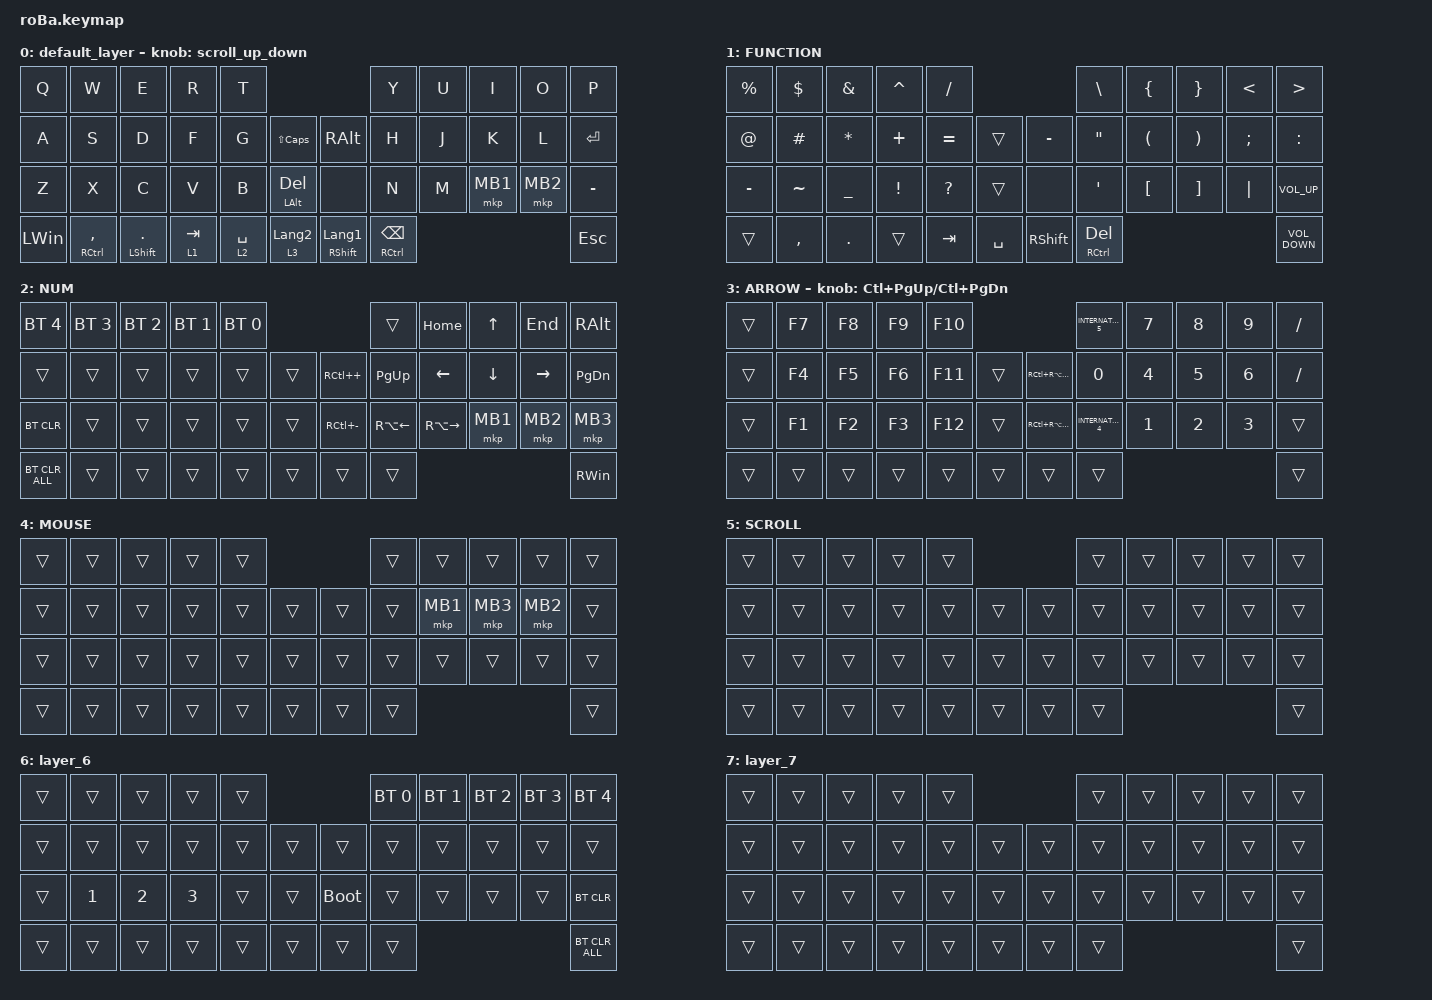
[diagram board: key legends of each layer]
#include <behaviors.dtsi>
#include <dt-bindings/zmk/bt.h>
#include <dt-bindings/zmk/keys.h>
#include <dt-bindings/zmk/pointing.h>

#define ZMK_POINTING_DEFAULT_SCRL_VAL 100

&mt {
    flavor = "hold-preferred";
    quick-tap-ms = <0>;
};

&sl { release-after-ms = <250>; };

/ {
    combos {
        compatible = "zmk,combos";

        BT0 {
            bindings = <&bt BT_SEL 0>;
            key-positions = <28 22>;
        };

        BT1 {
            bindings = <&bt BT_SEL 1>;
            key-positions = <28 23>;
        };

        BT2 {
            bindings = <&bt BT_SEL 2>;
            key-positions = <28 24>;
        };

        BT3 {
            bindings = <&none>;
            key-positions = <28 25>;
        };
    };

    macros {
        to_layer_0: to_layer_0 {
            compatible = "zmk,behavior-macro-one-param";
            #binding-cells = <1>;
            bindings = <&to 0 &macro_param_1to1 &kp MACRO_PLACEHOLDER>;
            label = "TO_LAYER_0";
        };

        mkp_exit_AML: mkp_exit_AML {
            compatible = "zmk,behavior-macro-one-param";
            #binding-cells = <1>;
            bindings =
                <&macro_press>,
                <&macro_param_1to1 &mkp MACRO_PLACEHOLDER>,
                <&macro_pause_for_release>,
                <&macro_release>,
                <&macro_param_1to1 &mkp MACRO_PLACEHOLDER>,
                <&macro_tap>,
                <&sl 4>;

            label = "MKP_EXIT_AML";
        };

        parenthesis: parenthesis {
            compatible = "zmk,behavior-macro";
            #binding-cells = <0>;
            bindings = <&kp LANG_HANJA &kp LEFT_PARENTHESIS &kp RIGHT_PARENTHESIS &kp LEFT_ARROW>;
            label = "parenthesis";
        };
    };

    behaviors {
        scroll_up_down: behavior_sensor_rotate_mouse_wheel_up_down {
            compatible = "zmk,behavior-sensor-rotate";
            #sensor-binding-cells = <0>;
            bindings = <&msc SCRL_UP>, <&msc SCRL_DOWN>;

            // 追加: スクロールのタップ時間を設定 (20ms)

            tap-ms = <20>;
        };
    };

    keymap {
        compatible = "zmk,keymap";

        default_layer {
            bindings = <
&kp Q         &kp W                    &kp E               &kp R      &kp T                                                          &kp Y                &kp U  &kp I     &kp O     &kp P
&kp A         &kp S                    &kp D               &kp F      &kp G        &kp LS(CAPS)          &kp RIGHT_ALT               &kp H                &kp J  &kp K     &kp L     &kp ENTER
&kp Z         &kp X                    &kp C               &kp V      &kp B        &mt LEFT_ALT DEL      &none                       &kp N                &kp M  &mkp MB1  &mkp MB2  &kp MINUS
&kp LEFT_WIN  &mt RIGHT_CONTROL COMMA  &mt LEFT_SHIFT DOT  &lt 1 TAB  &lt 2 SPACE  &lt 3 LANGUAGE_2      &mt RIGHT_SHIFT LANGUAGE_1  &mt RCTRL BACKSPACE                             &kp ESC
            >;

            sensor-bindings = <&scroll_up_down>;
        };

        FUNCTION {
            bindings = <
&kp PERCENT  &kp DOLLAR  &kp AMPERSAND  &kp CARET        &kp SLASH                                     &kp BACKSLASH      &kp LEFT_BRACE        &kp RIGHT_BRACE        &kp LESS_THAN  &kp GREATER_THAN
&kp AT       &kp HASH    &kp ASTRK      &kp PLUS         &kp EQUAL     &trans         &kp MINUS        &kp DOUBLE_QUOTES  &kp LEFT_PARENTHESIS  &kp RIGHT_PARENTHESIS  &kp SEMICOLON  &kp COLON
&kp MINUS    &kp TILDE   &kp UNDER      &kp EXCLAMATION  &kp QUESTION  &trans         &none            &kp SINGLE_QUOTE   &kp LEFT_BRACKET      &kp RIGHT_BRACKET      &kp PIPE       &kp C_VOLUME_UP
&trans       &kp COMMA   &kp DOT        &trans           &kp TAB       &kp SPACE      &kp RIGHT_SHIFT  &mt RCTRL DEL                                                                  &kp C_VOLUME_DOWN
            >;
        };

        NUM {
            bindings = <
&bt BT_SEL 4    &bt BT_SEL 3  &bt BT_SEL 2  &bt BT_SEL 1  &bt BT_SEL 0                             &trans              &kp HOME        &kp UP_ARROW    &kp END          &kp RIGHT_ALT
&trans          &trans        &trans        &trans        &trans        &trans      &kp RC(PLUS)   &kp PAGE_UP         &kp LEFT_ARROW  &kp DOWN_ARROW  &kp RIGHT_ARROW  &kp PAGE_DOWN
&bt BT_CLR      &trans        &trans        &trans        &trans        &trans      &kp RC(MINUS)  &kp RA(LEFT_ARROW)  &kp RA(RIGHT)   &mkp MB1        &mkp MB2         &mkp MB3
&bt BT_CLR_ALL  &trans        &trans        &trans        &trans        &trans      &trans         &trans                                                               &kp RIGHT_WIN
            >;
        };

        ARROW {
            bindings = <
&trans  &kp F7  &kp F8  &kp F9  &kp F10                                    &kp INTERNATIONAL_5  &kp NUMBER_7  &kp NUMBER_8  &kp N9        &kp SLASH
&trans  &kp F4  &kp F5  &kp F6  &kp F11  &trans      &kp RC(RA(KP_PLUS))   &kp NUMBER_0         &kp NUMBER_4  &kp NUMBER_5  &kp NUMBER_6  &kp SLASH
&trans  &kp F1  &kp F2  &kp F3  &kp F12  &trans      &kp RC(RA(KP_MINUS))  &kp INTERNATIONAL_4  &kp NUMBER_1  &kp NUMBER_2  &kp NUMBER_3  &trans
&trans  &trans  &trans  &trans  &trans   &trans      &trans                &trans                                                         &trans
            >;

            sensor-bindings = <&inc_dec_kp LC(PAGE_UP) LC(PAGE_DOWN)>;
        };

        MOUSE {
            bindings = <
&trans  &trans  &trans  &trans  &trans                      &trans  &trans    &trans    &trans    &trans
&trans  &trans  &trans  &trans  &trans  &trans      &trans  &trans  &mkp MB1  &mkp MB3  &mkp MB2  &trans
&trans  &trans  &trans  &trans  &trans  &trans      &trans  &trans  &trans    &trans    &trans    &trans
&trans  &trans  &trans  &trans  &trans  &trans      &trans  &trans                                &trans
            >;
        };

        SCROLL {
            bindings = <
&trans  &trans  &trans  &trans  &trans                      &trans  &trans  &trans  &trans  &trans
&trans  &trans  &trans  &trans  &trans  &trans      &trans  &trans  &trans  &trans  &trans  &trans
&trans  &trans  &trans  &trans  &trans  &trans      &trans  &trans  &trans  &trans  &trans  &trans
&trans  &trans  &trans  &trans  &trans  &trans      &trans  &trans                          &trans
            >;
        };

        layer_6 {
            bindings = <
&trans  &trans        &trans        &trans        &trans                           &bt BT_SEL 0  &bt BT_SEL 1  &bt BT_SEL 2  &bt BT_SEL 3  &bt BT_SEL 4
&trans  &trans        &trans        &trans        &trans  &trans      &trans       &trans        &trans        &trans        &trans        &trans
&trans  &kp NUMBER_1  &kp NUMBER_2  &kp NUMBER_3  &trans  &trans      &bootloader  &trans        &trans        &trans        &trans        &bt BT_CLR
&trans  &trans        &trans        &trans        &trans  &trans      &trans       &trans                                                  &bt BT_CLR_ALL
            >;
        };

        layer_7 {
            bindings = <
&trans  &trans  &trans  &trans  &trans                      &trans  &trans  &trans  &trans  &trans
&trans  &trans  &trans  &trans  &trans  &trans      &trans  &trans  &trans  &trans  &trans  &trans
&trans  &trans  &trans  &trans  &trans  &trans      &trans  &trans  &trans  &trans  &trans  &trans
&trans  &trans  &trans  &trans  &trans  &trans      &trans  &trans                          &trans
            >;
        };
    };
};
